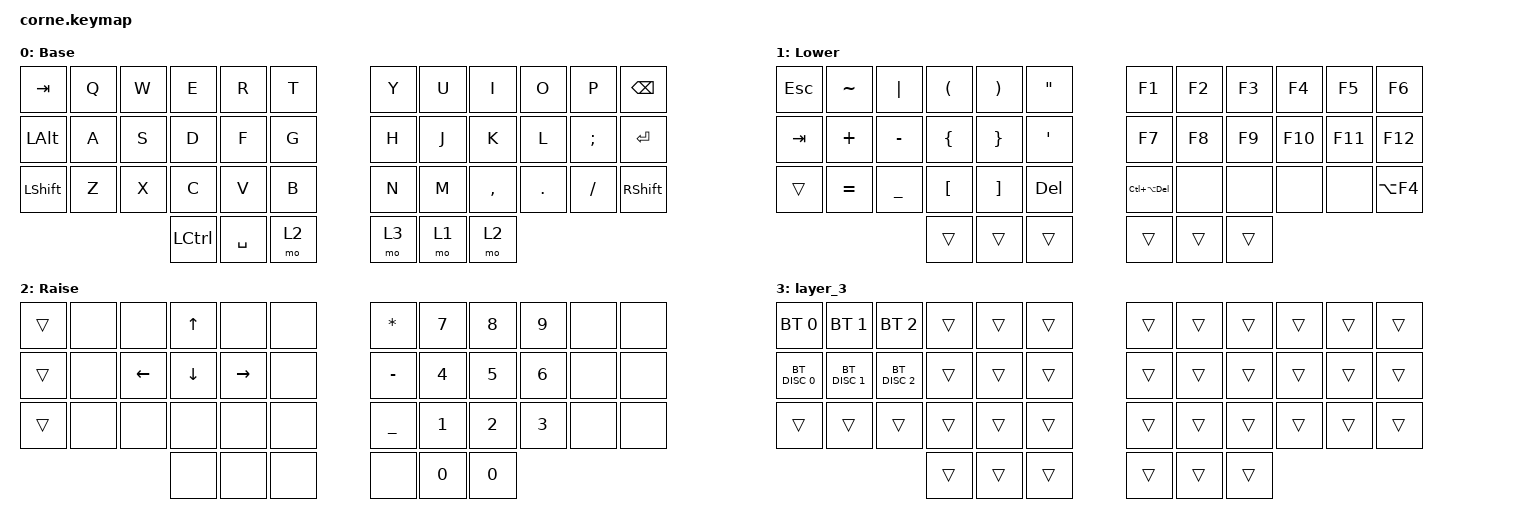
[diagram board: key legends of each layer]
/*
 * Copyright (c) 2020 The ZMK Contributors
 *
 * SPDX-License-Identifier: MIT
 */

#include <behaviors.dtsi>
#include <dt-bindings/zmk/bt.h>
#include <dt-bindings/zmk/keys.h>

/ {
    combos {
        compatible = "zmk,combos";

        Caps {
            bindings = <&kp CAPS>;
            key-positions = <24 35>;
        };

        Win {
            bindings = <&kp LEFT_WIN>;
            key-positions = <38 39>;
        };
    };

    keymap {
        compatible = "zmk,keymap";

        default_layer {
            // -----------------------------------------------------------------------------------------
            // |  TAB |  Q  |  W  |  E  |  R  |  T  |   |  Y  |  U   |  I  |  O  |  P  | BKSP |
            // | CTRL |  A  |  S  |  D  |  F  |  G  |   |  H  |  J   |  K  |  L  |  ;  |  '   |
            // | SHFT |  Z  |  X  |  C  |  V  |  B  |   |  N  |  M   |  ,  |  .  |  /  | ESC  |
            //                    | GUI | LWR | SPC |   | ENT | RSE  | ALT |

            label = "Base";
            bindings = <
&kp TAB    &kp Q  &kp W  &kp E      &kp R      &kp T    &kp Y  &kp U  &kp I      &kp O    &kp P     &kp BSPC
&kp LALT   &kp A  &kp S  &kp D      &kp F      &kp G    &kp H  &kp J  &kp K      &kp L    &kp SEMI  &kp ENTER
&kp LSHFT  &kp Z  &kp X  &kp C      &kp V      &kp B    &kp N  &kp M  &kp COMMA  &kp DOT  &kp FSLH  &kp RSHFT
                         &kp LCTRL  &kp SPACE  &mo 2    &mo 3  &mo 1  &mo 2
            >;
        };

        lower_layer {
            // -----------------------------------------------------------------------------------------
            // |  TAB |  1  |  2  |  3  |  4  |  5  |   |  6  |  7  |  8  |  9  |  0  | BKSP |
            // | BTCLR| BT1 | BT2 | BT3 | BT4 | BT5 |   | LFT | DWN |  UP | RGT |     |      |
            // | SHFT |     |     |     |     |     |   |     |     |     |     |     |      |
            //                    | GUI |     | SPC |   | ENT |     | ALT |

            label = "Lower";
            bindings = <
&kp ESC  &kp TILDE  &kp PIPE        &kp LEFT_PARENTHESIS  &kp RIGHT_PARENTHESIS  &kp DOUBLE_QUOTES    &kp F1              &kp F2  &kp F3  &kp F4   &kp F5   &kp F6
&kp TAB  &kp PLUS   &kp MINUS       &kp LEFT_BRACE        &kp RIGHT_BRACE        &kp SQT              &kp F7              &kp F8  &kp F9  &kp F10  &kp F11  &kp F12
&trans   &kp EQUAL  &kp UNDERSCORE  &kp LEFT_BRACKET      &kp RIGHT_BRACKET      &kp DEL              &kp LC(LA(DELETE))  &none   &none   &none    &none    &kp LA(F4)
                                    &trans                &trans                 &trans               &trans              &trans  &trans
            >;
        };

        raise_layer {
            // -----------------------------------------------------------------------------------------
            // |  TAB |  !  |  @  |  #  |  $  |  %  |   |  ^  |  &  |  *  |  (  |  )  | BKSP |
            // | CTRL |     |     |     |     |     |   |  -  |  =  |  [  |  ]  |  \  |  `   |
            // | SHFT |     |     |     |     |     |   |  _  |  +  |  {  |  }  | "|" |  ~   |
            //                    | GUI |     | SPC |   | ENT |     | ALT |

            label = "Raise";
            bindings = <
&trans  &none  &none     &kp UP_ARROW  &none      &none    &kp ASTERISK  &kp N7  &kp N8  &kp N9  &none  &none
&trans  &none  &kp LEFT  &kp DOWN      &kp RIGHT  &none    &kp MINUS     &kp N4  &kp N5  &kp N6  &none  &none
&trans  &none  &none     &none         &none      &none    &kp UNDER     &kp N1  &kp N2  &kp N3  &none  &none
                         &none         &none      &none    &none         &kp N0  &kp N0
            >;
        };

        layer_3 {
            bindings = <
&bt BT_SEL 0   &bt BT_SEL 1   &bt BT_SEL 2   &trans  &trans  &trans    &trans  &trans  &trans  &trans  &trans  &trans
&bt BT_DISC 0  &bt BT_DISC 1  &bt BT_DISC 2  &trans  &trans  &trans    &trans  &trans  &trans  &trans  &trans  &trans
&trans         &trans         &trans         &trans  &trans  &trans    &trans  &trans  &trans  &trans  &trans  &trans
                                             &trans  &trans  &trans    &trans  &trans  &trans
            >;
        };
    };
};
